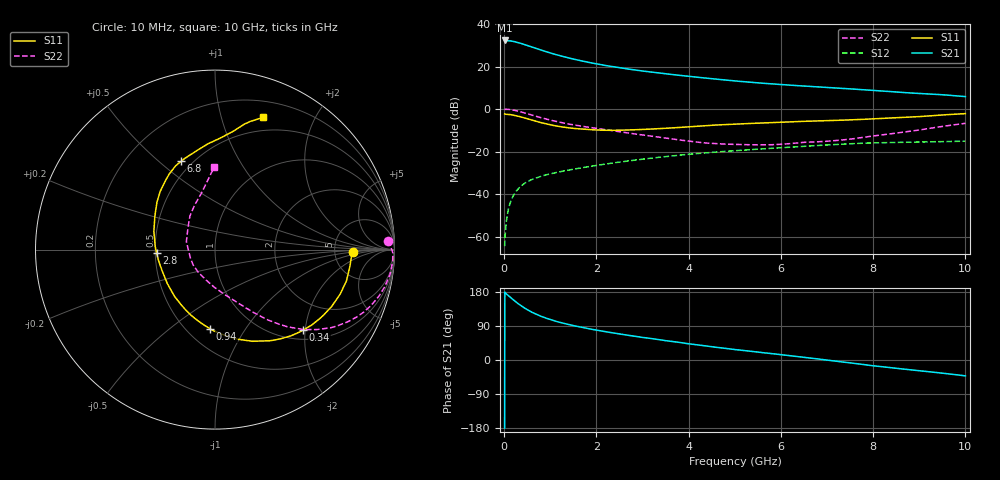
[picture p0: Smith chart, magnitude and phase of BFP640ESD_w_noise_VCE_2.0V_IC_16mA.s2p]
! Infineon Technologies  Discrete & RF Semiconductors
! BFP640ESD
! VCE =  2.0 V,  IC =  16 mA
! Common Emitter S-Parameters:  Jan 2016
# GHz  S  MA  R  50
!  f  S11  S21  S12  S22
! GHz  MAG  ANG  MAG  ANG  MAG  ANG  MAG  ANG
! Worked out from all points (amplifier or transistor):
!   233 points, 10 MHz to 10 GHz, reference 50 ohm
!   highest |S21| = 32.3 dB at 10 MHz (marker M1)
!   |S21| within 3 dB of that: start of sweep to 589.4 MHz
!   unconditionally stable (mu >= 1): 3.53 GHz to 8.861 GHz
!   at 200 MHz: K = 0.15, MSG = 36.2 dB, |S12| = -40.6 dB
!   at 1.74 GHz: K = 0.83, MSG = 24.9 dB, |S12| = -27.4 dB
!   at 10 GHz: K = 0.90, MSG = 10.5 dB, |S12| = -15.1 dB
!   lowest NFmin = 0.81 dB at 450 MHz
!   S11 on the Smith chart (normalised r, x): 10 MHz: 7.60, -0.45; 340 MHz: 1.21, -1.95; 940 MHz: 0.64, -0.71; 2.8 GHz: 0.51, -0.02; 6.8 GHz: 0.44, +0.59; 10 GHz: 0.36, +1.36
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0.01  0.7683 -0.9  41.09 -179.7  0.0006 89.2  0.9671 3.0
0.02  0.7614 -2.7  40.86 178.2  0.001 92.8  0.991 -1.0
0.05  0.7577 -6.9  40.73 174.3  0.0024 83.7  0.992 -3.9
0.1  0.7528 -13.4  40.61 169.3  0.0049 84.3  0.9852 -8.0
0.15  0.7399 -19.7  39.94 163.7  0.007 80.1  0.9697 -12.1
0.24  0.7073 -30.8  38.06 154.5  0.0109 75.2  0.9294 -18.8
0.34  0.6656 -42.4  35.68 145.4  0.0146 70.4  0.8744 -25.4
0.45  0.6163 -53.8  32.73 136.5  0.0182 66.2  0.8095 -31.4
0.6  0.5517 -67.8  28.84 126.1  0.0221 61.9  0.7232 -38.0
0.8  0.481 -83.6  24.4 115.3  0.0264 58.4  0.6277 -44.3
0.94  0.4418 -93.5  21.88 109.2  0.029 56.9  0.5735 -47.7
1.22  0.3867 -110.9  17.9 98.9  0.0338 55.3  0.4877 -53.2
1.4  0.3626 -120.7  15.92 93.4  0.0369 54.7  0.4458 -55.9
1.68  0.3385 -134.1  13.6 86.1  0.0417 54.0  0.3968 -59.6
2.2  0.318 -155.6  10.59 74.6  0.0511 52.4  0.329 -66.1
2.8  0.3261 -177.1  8.407 63.2  0.0625 49.7  0.2638 -76.2
3.4  0.3496 165.9  6.962 53.0  0.0745 45.8  0.216 -88.6
4.3  0.4027 144.5  5.456 38.2  0.0924 38.6  0.1623 -117.9
5.1  0.4492 132.0  4.5 26.4  0.1072 31.9  0.1471 -148.2
6.8  0.5269 111.0  3.323 2.8  0.1396 16.9  0.1707 157.1
8.4  0.6163 88.3  2.56 -20.6  0.1641 -0.9  0.2642 116.7
10  0.7828 70.1  1.969 -41.9  0.1762 -16.1  0.4623 90.4
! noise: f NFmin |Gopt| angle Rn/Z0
0.45  0.81  0.03  -4  0.09
0.9  0.83  0.01  -11  0.09
1.9  0.84  0.01  -88  0.12
2.4  0.85  0.03  -106  0.11
5.5  1.11  0.34  -116  0.13
10  1.73  0.58  -77  0.67
